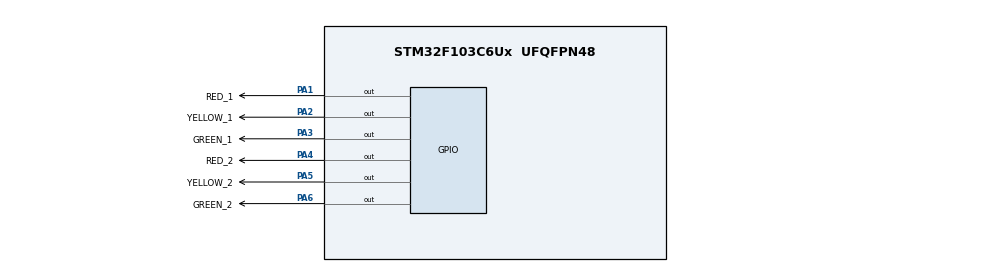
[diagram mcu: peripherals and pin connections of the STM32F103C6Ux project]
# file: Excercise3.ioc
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Mcu.Family=STM32F1
Mcu.Name=STM32F103C6Ux
Mcu.Package=UFQFPN48
NVIC.PriorityGroup=NVIC_PRIORITYGROUP_4
PA1.GPIO_Label=RED_1
PA1.Signal=GPIO_Output
PA2.GPIO_Label=YELLOW_1
PA2.Signal=GPIO_Output
PA3.GPIO_Label=GREEN_1
PA3.Signal=GPIO_Output
PA4.GPIO_Label=RED_2
PA4.Signal=GPIO_Output
PA5.GPIO_Label=YELLOW_2
PA5.Signal=GPIO_Output
PA6.GPIO_Label=GREEN_2
PA6.Signal=GPIO_Output
ProjectManager.HeapSize=0x200
ProjectManager.StackSize=0x400
ProjectManager.TargetToolchain=STM32CubeIDE
RCC.APB1Freq_Value=8000000
RCC.APB2Freq_Value=8000000
VP_SYS_VS_ND.Mode=No_Debug
board=custom

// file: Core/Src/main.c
/* USER CODE BEGIN Header */
/**
  ******************************************************************************
  * @file           : main.c
  * @brief          : Main program body
  ******************************************************************************
  * @attention
  *
  * <h2><center>&copy; Copyright (c) 2023 STMicroelectronics.
  * All rights reserved.</center></h2>
  *
  * This software component is licensed by ST under BSD 3-Clause license,
  * the "License"; You may not use this file except in compliance with the
  * License. You may obtain a copy of the License at:
  *                        opensource.org/licenses/BSD-3-Clause
  *
  ******************************************************************************
  */
/* USER CODE END Header */
#include "main.h"

void SystemClock_Config(void);
static void MX_GPIO_Init(void);

int main(void)
{

  /* MCU Configuration--------------------------------------------------------*/

  /* Reset of all peripherals, Initializes the Flash interface and the Systick. */
  HAL_Init();

  /* Configure the system clock */
  SystemClock_Config();

  /* Initialize all configured peripherals */
  MX_GPIO_Init();

  /* Infinite loop */
  /* USER CODE BEGIN WHILE */
  int countRed = 5, countYellow = 2, countGreen = 3, turn = 1;
  while (1) {
	if (turn == 1) {
		if (countRed > 0) {
			if (countRed >= 3) {

				HAL_GPIO_WritePin(GPIOA, RED_1_Pin, RESET);
				HAL_GPIO_WritePin(GPIOA, YELLOW_1_Pin, SET);
				HAL_GPIO_WritePin(GPIOA, GREEN_1_Pin, SET);

				HAL_GPIO_WritePin(GPIOA, RED_2_Pin, SET);
				HAL_GPIO_WritePin(GPIOA, YELLOW_2_Pin, SET);
				HAL_GPIO_WritePin(GPIOA, GREEN_2_Pin, RESET);

				countGreen--; }

			if (countRed < 3 && countRed >=1) {

				HAL_GPIO_WritePin(GPIOA, RED_1_Pin, RESET);
				HAL_GPIO_WritePin(GPIOA, YELLOW_1_Pin, SET);
				HAL_GPIO_WritePin(GPIOA, GREEN_1_Pin, SET);

				HAL_GPIO_WritePin(GPIOA, RED_2_Pin, SET);
				HAL_GPIO_WritePin(GPIOA, YELLOW_2_Pin, RESET);
				HAL_GPIO_WritePin(GPIOA, GREEN_2_Pin, SET);

				countYellow--; }

			countRed--;  }
			if (countYellow == 0) countYellow = 2;
			if (countGreen == 0) countGreen = 3;
			if (countRed == 0) {
						countRed = 5;
						turn = 2;
	}
	}
		else if (turn == 2) {
			if (countRed > 0) {
				if (countRed >= 3) {

					HAL_GPIO_WritePin(GPIOA, RED_1_Pin, SET);
					HAL_GPIO_WritePin(GPIOA, YELLOW_1_Pin, SET);
					HAL_GPIO_WritePin(GPIOA, GREEN_1_Pin, RESET);

					HAL_GPIO_WritePin(GPIOA, RED_2_Pin, RESET);
					HAL_GPIO_WritePin(GPIOA, YELLOW_2_Pin, SET);
					HAL_GPIO_WritePin(GPIOA, GREEN_2_Pin, SET);

					countGreen--; }

				if (countRed < 3 && countRed >=1) {

					HAL_GPIO_WritePin(GPIOA, RED_1_Pin, SET);
					HAL_GPIO_WritePin(GPIOA, YELLOW_1_Pin, RESET);
					HAL_GPIO_WritePin(GPIOA, GREEN_1_Pin, SET);

					HAL_GPIO_WritePin(GPIOA, RED_2_Pin, RESET);
					HAL_GPIO_WritePin(GPIOA, YELLOW_2_Pin, SET);
					HAL_GPIO_WritePin(GPIOA, GREEN_2_Pin, SET);

					countYellow--; }

				countRed--;  }
				if (countYellow == 0) countYellow = 2;
				if (countGreen == 0) countGreen = 3;
				if (countRed == 0) {
							countRed = 5;
							turn = 1;
		}
		}

  	  	  HAL_Delay(1000);
	  }
    /* USER CODE END WHILE */

  }

void SystemClock_Config(void)
{
  RCC_OscInitTypeDef RCC_OscInitStruct = {0};
  RCC_ClkInitTypeDef RCC_ClkInitStruct = {0};

  /** Initializes the RCC Oscillators according to the specified parameters
  * in the RCC_OscInitTypeDef structure.
  */
  RCC_OscInitStruct.OscillatorType = RCC_OSCILLATORTYPE_HSI;
  RCC_OscInitStruct.HSIState = RCC_HSI_ON;
  RCC_OscInitStruct.HSICalibrationValue = RCC_HSICALIBRATION_DEFAULT;
  RCC_OscInitStruct.PLL.PLLState = RCC_PLL_NONE;
  if (HAL_RCC_OscConfig(&RCC_OscInitStruct) != HAL_OK)
  {
    Error_Handler();
  }
  /** Initializes the CPU, AHB and APB buses clocks
  */
  RCC_ClkInitStruct.ClockType = RCC_CLOCKTYPE_HCLK|RCC_CLOCKTYPE_SYSCLK
                              |RCC_CLOCKTYPE_PCLK1|RCC_CLOCKTYPE_PCLK2;
  RCC_ClkInitStruct.SYSCLKSource = RCC_SYSCLKSOURCE_HSI;
  RCC_ClkInitStruct.AHBCLKDivider = RCC_SYSCLK_DIV1;
  RCC_ClkInitStruct.APB1CLKDivider = RCC_HCLK_DIV1;
  RCC_ClkInitStruct.APB2CLKDivider = RCC_HCLK_DIV1;

  if (HAL_RCC_ClockConfig(&RCC_ClkInitStruct, FLASH_LATENCY_0) != HAL_OK)
  {
    Error_Handler();
  }
}

static void MX_GPIO_Init(void)
{
  GPIO_InitTypeDef GPIO_InitStruct = {0};

  /* GPIO Ports Clock Enable */
  __HAL_RCC_GPIOA_CLK_ENABLE();

  /*Configure GPIO pin Output Level */
  HAL_GPIO_WritePin(GPIOA, RED_1_Pin|YELLOW_1_Pin|GREEN_1_Pin|RED_2_Pin
                          |YELLOW_2_Pin|GREEN_2_Pin, GPIO_PIN_RESET);

  /*Configure GPIO pins : RED_1_Pin YELLOW_1_Pin GREEN_1_Pin RED_2_Pin
                           YELLOW_2_Pin GREEN_2_Pin */
  GPIO_InitStruct.Pin = RED_1_Pin|YELLOW_1_Pin|GREEN_1_Pin|RED_2_Pin
                          |YELLOW_2_Pin|GREEN_2_Pin;
  GPIO_InitStruct.Mode = GPIO_MODE_OUTPUT_PP;
  GPIO_InitStruct.Pull = GPIO_NOPULL;
  GPIO_InitStruct.Speed = GPIO_SPEED_FREQ_LOW;
  HAL_GPIO_Init(GPIOA, &GPIO_InitStruct);

}

void Error_Handler(void)
{
  __disable_irq();
  while (1)
  {
  }
}

/************************ (C) COPYRIGHT STMicroelectronics *****END OF FILE****/
